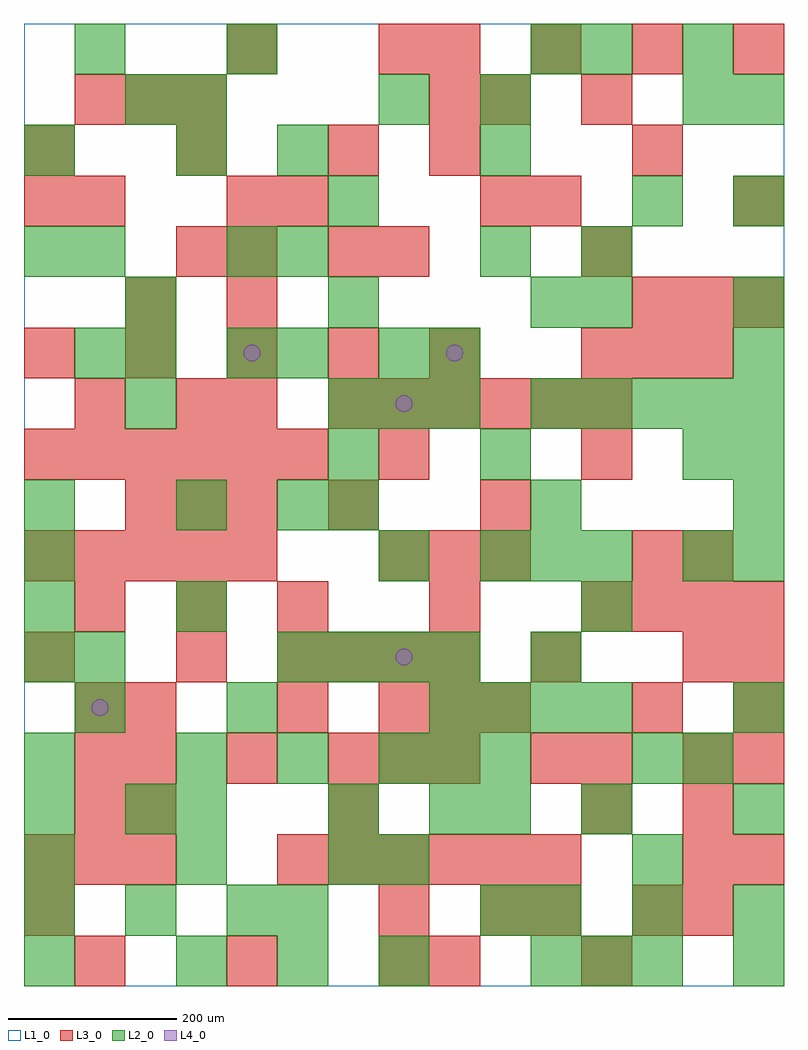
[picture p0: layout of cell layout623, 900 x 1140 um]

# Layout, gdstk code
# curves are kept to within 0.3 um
import gdstk
lib = gdstk.Library(unit=1e-6, precision=1e-09)
def R(c, l, rs):  # rectangles x0, y0, x1, y1
    for r in rs: c.add(gdstk.rectangle(r[:2], r[2:], *l))
def A(c, l, x, y, w, h, nx, ny, dx, dy):  # array of equal rectangles
    R(c, l, [(x+i*dx, y+j*dy, x+i*dx+w, y+j*dy+h) for i in range(nx) for j in range(ny)])
def P(c, l, *ps):  # polygons
    for p in ps: c.add(gdstk.Polygon(p, *l))
L1_0 = (1, 0)
L2_0 = (2, 0)
L3_0 = (3, 0)
L4_0 = (4, 0)

layout623 = lib.new_cell('layout623')
R(layout623, L1_0, [(0,0,900,1140)])
A(layout623, L2_0, 180, 0, 60, 60, 3, 2, 120, 240)
A(layout623, L2_0, 600, 0, 60, 60, 3, 1, 60, 0)
A(layout623, L2_0, 0, 60, 60, 60, 3, 1, 120, 0)
A(layout623, L2_0, 600, 60, 60, 60, 3, 1, 120, 0)
A(layout623, L2_0, 0, 120, 60, 60, 3, 1, 180, 0)
A(layout623, L2_0, 480, 300, 60, 60, 4, 1, 60, 0)
A(layout623, L2_0, 0, 360, 60, 60, 1, 4, 0, 60)
A(layout623, L2_0, 300, 360, 60, 60, 4, 1, 60, 0)
A(layout623, L2_0, 540, 480, 60, 60, 3, 1, 60, 0)
A(layout623, L2_0, 840, 480, 60, 60, 1, 3, 0, 120)
A(layout623, L2_0, 360, 540, 60, 60, 3, 1, 240, 0)
A(layout623, L2_0, 360, 660, 60, 60, 3, 1, 60, 0)
A(layout623, L2_0, 600, 660, 60, 60, 5, 1, 60, 0)
A(layout623, L2_0, 300, 720, 60, 60, 1, 3, 0, 120)
A(layout623, L2_0, 120, 780, 60, 60, 3, 1, 240, 0)
A(layout623, L2_0, 840, 780, 60, 60, 1, 3, 0, 120)
R(layout623, L2_0, [(0,0,60,60), (840,0,900,60), (300,60,360,120), (540,60,600,120), (420,120,480,180), (720,120,780,180), (0,180,60,240), (120,180,180,240), (180,180,240,240), (360,180,420,240), (480,180,540,240), (540,180,600,240), (660,180,720,240), (840,180,900,240), (0,240,60,300), (480,240,540,300), (540,240,600,300), (720,240,780,300), (780,240,840,300), (60,300,120,360), (240,300,300,360), (840,300,900,360), (60,360,120,420), (600,360,660,420), (180,420,240,480), (660,420,720,480), (420,480,480,540), (780,480,840,540), (180,540,240,600), (300,540,360,600), (360,600,420,660), (540,600,600,660), (780,600,840,660), (120,660,180,720), (60,720,120,780), (120,720,180,780), (240,720,300,780), (420,720,480,780), (480,720,540,780), (660,780,720,840), (0,840,60,900), (60,840,120,900), (240,840,300,900), (540,840,600,900), (660,840,720,900), (360,900,420,960), (720,900,780,960), (0,960,60,1020), (180,960,240,1020), (540,960,600,1020), (120,1020,180,1080), (180,1020,240,1080), (420,1020,480,1080), (540,1020,600,1080), (780,1020,840,1080), (60,1080,120,1140), (240,1080,300,1140), (600,1080,660,1140), (660,1080,720,1140), (780,1080,840,1140)])
A(layout623, L3_0, 60, 0, 60, 60, 3, 1, 180, 0)
A(layout623, L3_0, 780, 60, 60, 60, 1, 4, 0, 60)
A(layout623, L3_0, 0, 120, 60, 60, 3, 1, 60, 0)
A(layout623, L3_0, 300, 120, 60, 60, 6, 1, 60, 0)
A(layout623, L3_0, 60, 180, 60, 60, 1, 3, 0, 60)
A(layout623, L3_0, 120, 240, 60, 60, 3, 1, 120, 0)
A(layout623, L3_0, 840, 240, 60, 60, 1, 3, 0, 60)
A(layout623, L3_0, 420, 300, 60, 60, 3, 2, 60, 180)
A(layout623, L3_0, 300, 360, 60, 60, 4, 1, 60, 0)
A(layout623, L3_0, 60, 420, 60, 60, 3, 1, 120, 0)
A(layout623, L3_0, 660, 420, 60, 60, 4, 1, 60, 0)
A(layout623, L3_0, 0, 480, 60, 60, 5, 1, 60, 0)
A(layout623, L3_0, 120, 540, 60, 60, 3, 1, 60, 0)
A(layout623, L3_0, 0, 600, 60, 60, 6, 1, 60, 0)
A(layout623, L3_0, 420, 600, 60, 60, 1, 3, 0, 240)
A(layout623, L3_0, 360, 660, 60, 60, 6, 1, 60, 0)
A(layout623, L3_0, 0, 720, 60, 60, 5, 1, 120, 0)
A(layout623, L3_0, 660, 720, 60, 60, 3, 1, 60, 0)
A(layout623, L3_0, 240, 780, 60, 60, 1, 3, 0, 60)
A(layout623, L3_0, 720, 780, 60, 60, 3, 1, 60, 0)
A(layout623, L3_0, 0, 960, 60, 60, 3, 1, 180, 0)
A(layout623, L3_0, 60, 1020, 60, 60, 3, 1, 60, 0)
A(layout623, L3_0, 480, 1080, 60, 60, 4, 1, 120, 0)
R(layout623, L3_0, [(480,0,540,60), (660,0,720,60), (0,60,60,120), (420,60,480,120), (540,60,600,120), (600,60,660,120), (720,60,780,120), (840,120,900,180), (120,180,180,240), (360,180,420,240), (660,180,720,240), (420,240,480,300), (480,240,540,300), (600,240,660,300), (660,240,720,300), (120,300,180,360), (300,300,360,360), (720,300,780,360), (0,360,60,420), (180,360,240,420), (600,360,660,420), (780,360,840,420), (480,420,540,480), (720,480,780,540), (780,480,840,540), (360,540,420,600), (540,540,600,600), (660,600,720,660), (60,660,120,720), (180,660,240,720), (240,660,300,720), (120,780,180,840), (180,840,240,900), (360,840,420,900), (660,840,720,900), (0,900,60,960), (60,900,120,960), (300,900,360,960), (540,900,600,960), (600,900,660,960), (840,900,900,960), (480,960,540,1020), (720,960,780,1020), (480,1020,540,1080), (540,1020,600,1080), (660,1020,720,1080), (240,1080,300,1140)])
P(layout623, L4_0, [(100,330),(99.239,333.827),(97.071,337.071),(93.827,339.239),(90,340),(86.173,339.239),(82.929,337.071),(80.761,333.827),(80,330),(80.761,326.173),(82.929,322.929),(86.173,320.761),(90,320),(93.827,320.761),(97.071,322.929),(99.239,326.173)],
  [(280,750),(279.239,753.827),(277.071,757.071),(273.827,759.239),(270,760),(266.173,759.239),(262.929,757.071),(260.761,753.827),(260,750),(260.761,746.173),(262.929,742.929),(266.173,740.761),(270,740),(273.827,740.761),(277.071,742.929),(279.239,746.173)],
  [(460,390),(459.239,393.827),(457.071,397.071),(453.827,399.239),(450,400),(446.173,399.239),(442.929,397.071),(440.761,393.827),(440,390),(440.761,386.173),(442.929,382.929),(446.173,380.761),(450,380),(453.827,380.761),(457.071,382.929),(459.239,386.173)],
  [(460,690),(459.239,693.827),(457.071,697.071),(453.827,699.239),(450,700),(446.173,699.239),(442.929,697.071),(440.761,693.827),(440,690),(440.761,686.173),(442.929,682.929),(446.173,680.761),(450,680),(453.827,680.761),(457.071,682.929),(459.239,686.173)],
  [(520,750),(519.239,753.827),(517.071,757.071),(513.827,759.239),(510,760),(506.173,759.239),(502.929,757.071),(500.761,753.827),(500,750),(500.761,746.173),(502.929,742.929),(506.173,740.761),(510,740),(513.827,740.761),(517.071,742.929),(519.239,746.173)])

lib.write_gds('layout623.gds')
